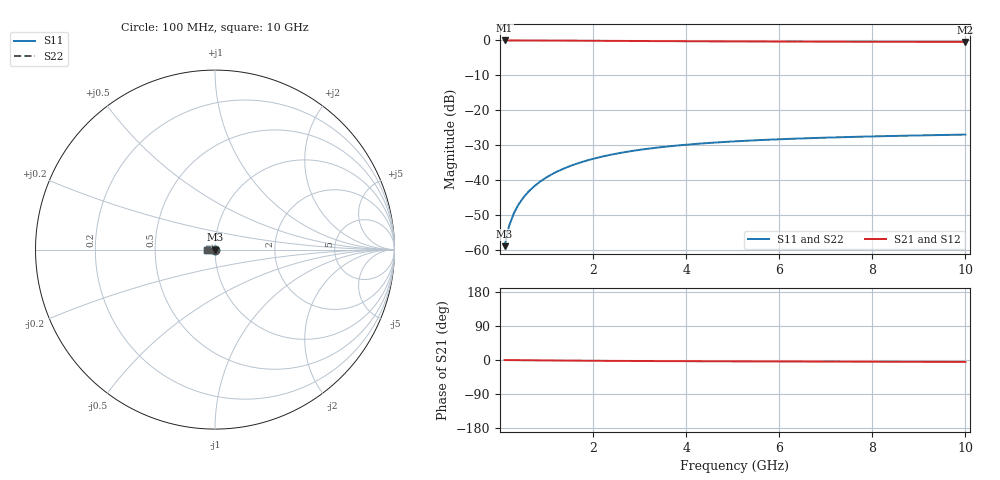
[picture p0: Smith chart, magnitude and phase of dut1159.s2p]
! Touchstone file exported from HFSS 2024.1.0
!  File:  C:/UserFiles/LocalFiles/RDL_TSV_Batchsim/temp_TSV1_1159_1780072585.aedt
!  Generated:  12:41:13 AM May 30, 2026
!  Design:  TSV1
!  Project:  temp_TSV1_1159_1780072585
!  Setup:  Setup1
!  Solution:  Sweep
! Variables:
!  dtsv = 8.85um
!  hbump = 3um
!  htsv = 80.6um
!  lrdl = 252.1521522um
!  p = 40
!  p1 = 42.85um
!  t = 500um
!  trdl = 3um
!  wrdl = 24.89489489um
# GHz S MA R 50.000000
! Terminal data exported
! Port[1] = TSV22_T1
! Port[2] = TSV22_T2
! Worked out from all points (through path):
!   100 points, 100 MHz to 10 GHz, reference 50 ohm
!   highest |S21| = 0.00 dB at 100 MHz (marker M1); lowest = -0.4 dB at 10 GHz (marker M2)
!   lowest |S11| = -59.0 dB at 100 MHz (marker M3), VSWR 1.00, Z = 50 - j0.112 ohm
!   |S11| at or under -10 dB: start of sweep to end of sweep
!   |S22| runs from -59.0 to -27.0 dB; largest |S21 - S12| = 2.1e-15
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0.1  0.001126 -82.0  0.9998 -0.1  0.9998 -0.1  0.001126 -82.0
! Gamma 0 0 0 0
! Port Impedance 50 0 50 0
0.2  0.002235 -88.1  0.9997 -0.2  0.9997 -0.2  0.002235 -88.1
0.3  0.003349 -91.3  0.9995 -0.3  0.9995 -0.3  0.003349 -91.3
0.4  0.004461 -93.7  0.9993 -0.5  0.9993 -0.5  0.004461 -93.7
0.5  0.005565 -95.9  0.999 -0.6  0.999 -0.6  0.005565 -95.9
0.6  0.00666 -97.8  0.9986 -0.7  0.9986 -0.7  0.00666 -97.8
0.7  0.007742 -99.6  0.9982 -0.8  0.9982 -0.8  0.007742 -99.6
0.8  0.00881 -101.4  0.9978 -0.9  0.9978 -0.9  0.00881 -101.4
0.9  0.009862 -103.1  0.9973 -1.0  0.9973 -1.0  0.009862 -103.1
1.1  0.01191 -106.4  0.9961 -1.2  0.9961 -1.2  0.01191 -106.4
1.4  0.01484 -111.1  0.9942 -1.5  0.9942 -1.5  0.01484 -111.1
1.6  0.01669 -114.0  0.9927 -1.7  0.9927 -1.7  0.01669 -114.0
1.8  0.01844 -116.9  0.9912 -1.8  0.9912 -1.8  0.01844 -116.9
2.1  0.02089 -121.0  0.9888 -2.1  0.9888 -2.1  0.0209 -121.0
2.5  0.02384 -126.0  0.9855 -2.3  0.9855 -2.3  0.02384 -126.0
2.9  0.02643 -130.7  0.9823 -2.6  0.9823 -2.6  0.02643 -130.7
3.4  0.02923 -136.0  0.9785 -2.9  0.9785 -2.9  0.02923 -136.0
4.2  0.03284 -143.4  0.9731 -3.2  0.9731 -3.2  0.03284 -143.4
5.1  0.03594 -150.5  0.9681 -3.6  0.9681 -3.6  0.03594 -150.5
6.7  0.03985 -160.6  0.9615 -4.1  0.9615 -4.1  0.03985 -160.6
8.4  0.0427 -169.2  0.9567 -4.6  0.9567 -4.6  0.04271 -169.2
10  0.04474 -176.0  0.9536 -5.1  0.9536 -5.1  0.04474 -176.0
